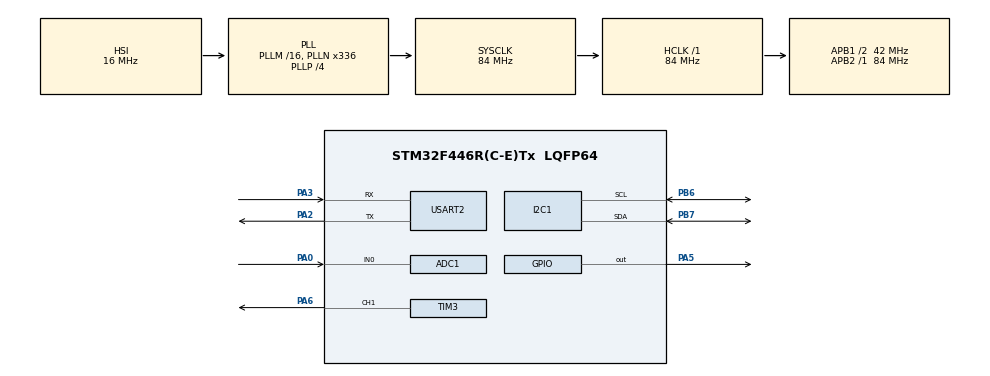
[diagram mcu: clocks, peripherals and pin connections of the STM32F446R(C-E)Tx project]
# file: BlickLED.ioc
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ADC1.Channel-1\#ChannelRegularConversion=ADC_CHANNEL_0
ADC1.NbrOfConversion=1
ADC1.NbrOfConversionFlag=1
ADC1.Rank-1\#ChannelRegularConversion=1
ADC1.SamplingTime-1\#ChannelRegularConversion=ADC_SAMPLETIME_3CYCLES
ADC1.master=1
Mcu.Family=STM32F4
Mcu.Name=STM32F446R(C-E)Tx
Mcu.Package=LQFP64
NVIC.PriorityGroup=NVIC_PRIORITYGROUP_0
PA0-WKUP.Signal=ADCx_IN0
PA2.Mode=Asynchronous
PA2.Signal=USART2_TX
PA3.Mode=Asynchronous
PA3.Signal=USART2_RX
PA5.Signal=GPIO_Output
PA5.TagName=LD1
PA6.Signal=S_TIM3_CH1
PB6.Mode=I2C
PB6.Signal=I2C1_SCL
PB7.Mode=I2C
PB7.Signal=I2C1_SDA
ProjectManager.HeapSize=0x200
ProjectManager.StackSize=0x400
ProjectManager.TargetToolchain=STM32CubeIDE
RCC.AHBFreq_Value=84000000
RCC.APB1CLKDivider=RCC_HCLK_DIV2
RCC.APB1Freq_Value=42000000
RCC.APB1TimFreq_Value=84000000
RCC.APB2Freq_Value=84000000
RCC.APB2TimFreq_Value=84000000
RCC.CortexFreq_Value=84000000
RCC.FLatency-AdvancedSettings=FLASH_LATENCY_2
RCC.HCLKFreq_Value=84000000
RCC.HSE_VALUE=8000000
RCC.HSI_VALUE=16000000
RCC.LSE_VALUE=32768
RCC.PLLN=336
RCC.PLLP=RCC_PLLP_DIV4
RCC.SYSCLKFreq_VALUE=84000000
RCC.SYSCLKSource=RCC_SYSCLKSOURCE_PLLCLK
RCC.USBFreq_Value=168000000
RCC.VCOOutputFreq_Value=336000000
SH.ADCx_IN0.0=ADC1_IN0,IN0
SH.S_TIM3_CH1.0=TIM3_CH1,PWM Generation1 CH1
TIM3.AutoReloadPreload=TIM_AUTORELOAD_PRELOAD_ENABLE
TIM3.Channel-PWM\ Generation1\ CH1=TIM_CHANNEL_1
TIM3.Period=999
TIM3.Prescaler=89
TIM3.Pulse-PWM\ Generation1\ CH1=500
USART2.VirtualMode=VM_ASYNC
VP_TIM3_VS_ClockSourceINT.Mode=Internal
VP_TIM3_VS_ClockSourceITR.Mode=TriggerSource_ITR3
board=NUCLEO-F446RE

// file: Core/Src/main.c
/* USER CODE BEGIN Header */
/**
  ******************************************************************************
  * @file           : main.c
  * @brief          : Main program body
  ******************************************************************************
  * @attention
  *
  * Copyright (c) 2026 STMicroelectronics.
  * All rights reserved.
  *
  * This software is licensed under terms that can be found in the LICENSE file
  * in the root directory of this software component.
  * If no LICENSE file comes with this software, it is provided AS-IS.
  *
  ******************************************************************************
  */
/* USER CODE END Header */
#include "main.h"
#include "ssd1306.h"
#include "ssd1306_fonts.h"

ADC_HandleTypeDef hadc1;

I2C_HandleTypeDef hi2c1;

TIM_HandleTypeDef htim3;

UART_HandleTypeDef huart2;

/* USER CODE BEGIN PV */
volatile uint32_t adc_value = 0;
volatile float voltage = 0.0f;
/* USER CODE END PV */

void SystemClock_Config(void);
static void MX_GPIO_Init(void);
static void MX_ADC1_Init(void);
static void MX_USART2_UART_Init(void);
static void MX_TIM3_Init(void);
static void MX_I2C1_Init(void);

/* USER CODE BEGIN 0 */

extern TIM_HandleTypeDef htim3;

static uint32_t brightness = 0;

/* Increase brightness */
void increase_brightness(void)
{
    if (brightness < 1000U)
        brightness += 10U;

    if (brightness > 1000U)
        brightness = 1000U;

    __HAL_TIM_SET_COMPARE(&htim3, TIM_CHANNEL_1, brightness);
}

/* Decrease brightness */
void decrease_brightness(void)
{
    if (brightness >= 10U)
        brightness -= 10U;
    else
        brightness = 0U;

    __HAL_TIM_SET_COMPARE(&htim3, TIM_CHANNEL_1, brightness);
}

/* USER CODE END 0 */

int	main(void)
{

  /* MCU Configuration--------------------------------------------------------*/

  /* Reset of all peripherals, Initializes the Flash interface and the Systick. */
  HAL_Init();

  /* Configure the system clock */
  SystemClock_Config();

  /* Initialize all configured peripherals */
  MX_GPIO_Init();
  MX_ADC1_Init();
  MX_USART2_UART_Init();
  MX_TIM3_Init();
  MX_I2C1_Init();
  /* USER CODE BEGIN 2 */
  HAL_TIM_PWM_Start(&htim3, TIM_CHANNEL_1);

  /* Enable internal pull-ups on SCL/SDA (PB6/PB7) in case the OLED module has none */
  GPIO_InitTypeDef i2c_gpio = {0};
  i2c_gpio.Pin = GPIO_PIN_6 | GPIO_PIN_7;
  i2c_gpio.Mode = GPIO_MODE_AF_OD;
  i2c_gpio.Pull = GPIO_PULLUP;
  i2c_gpio.Speed = GPIO_SPEED_FREQ_VERY_HIGH;
  i2c_gpio.Alternate = GPIO_AF4_I2C1;
  HAL_GPIO_Init(GPIOB, &i2c_gpio);

  /* OLED modules commonly use either I2C address 0x3C or 0x3D. */
  if (HAL_I2C_IsDeviceReady(&hi2c1, 0x3C << 1, 3, 50) == HAL_OK)
  {
    ssd1306_SetI2CAddress(0x3C);
  }
  else if (HAL_I2C_IsDeviceReady(&hi2c1, 0x3D << 1, 3, 50) == HAL_OK)
  {
    ssd1306_SetI2CAddress(0x3D);
  }
  else
  {
    static const uint8_t oled_error[] = "OLED not found at I2C 0x3C or 0x3D\r\n";
    HAL_UART_Transmit(&huart2, oled_error, sizeof(oled_error) - 1, HAL_MAX_DELAY);
    Error_Handler();
  }
  /* USER CODE END 2 */

  /* Infinite loop */
  /* USER CODE BEGIN WHILE */

      ssd1306_Init();
      ssd1306_Fill(Black);

      ssd1306_SetCursor(0, 0);
      ssd1306_WriteString("STM32 NUCLEO",
                         Font_7x10, White);

      ssd1306_SetCursor(0, 20);
      ssd1306_WriteString("I2C OLED",
                         Font_7x10, White);

      ssd1306_UpdateScreen();

      while (1)
      {
          HAL_Delay(1000);
      }

  /* USER CODE END 3 */
}

void SystemClock_Config(void)
{
  RCC_OscInitTypeDef RCC_OscInitStruct = {0};
  RCC_ClkInitTypeDef RCC_ClkInitStruct = {0};

  /** Configure the main internal regulator output voltage
  */
  __HAL_RCC_PWR_CLK_ENABLE();
  __HAL_PWR_VOLTAGESCALING_CONFIG(PWR_REGULATOR_VOLTAGE_SCALE3);

  /** Initializes the RCC Oscillators according to the specified parameters
  * in the RCC_OscInitTypeDef structure.
  */
  RCC_OscInitStruct.OscillatorType = RCC_OSCILLATORTYPE_HSI;
  RCC_OscInitStruct.HSIState = RCC_HSI_ON;
  RCC_OscInitStruct.HSICalibrationValue = RCC_HSICALIBRATION_DEFAULT;
  RCC_OscInitStruct.PLL.PLLState = RCC_PLL_ON;
  RCC_OscInitStruct.PLL.PLLSource = RCC_PLLSOURCE_HSI;
  RCC_OscInitStruct.PLL.PLLM = 16;
  RCC_OscInitStruct.PLL.PLLN = 336;
  RCC_OscInitStruct.PLL.PLLP = RCC_PLLP_DIV4;
  RCC_OscInitStruct.PLL.PLLQ = 2;
  RCC_OscInitStruct.PLL.PLLR = 2;
  if (HAL_RCC_OscConfig(&RCC_OscInitStruct) != HAL_OK)
  {
    Error_Handler();
  }

  /** Initializes the CPU, AHB and APB buses clocks
  */
  RCC_ClkInitStruct.ClockType = RCC_CLOCKTYPE_HCLK|RCC_CLOCKTYPE_SYSCLK
                              |RCC_CLOCKTYPE_PCLK1|RCC_CLOCKTYPE_PCLK2;
  RCC_ClkInitStruct.SYSCLKSource = RCC_SYSCLKSOURCE_PLLCLK;
  RCC_ClkInitStruct.AHBCLKDivider = RCC_SYSCLK_DIV1;
  RCC_ClkInitStruct.APB1CLKDivider = RCC_HCLK_DIV2;
  RCC_ClkInitStruct.APB2CLKDivider = RCC_HCLK_DIV1;

  if (HAL_RCC_ClockConfig(&RCC_ClkInitStruct, FLASH_LATENCY_2) != HAL_OK)
  {
    Error_Handler();
  }
}

static void MX_ADC1_Init(void)
{

  ADC_ChannelConfTypeDef sConfig = {0};

  /** Configure the global features of the ADC (Clock, Resolution, Data Alignment and number of conversion)
  */
  hadc1.Instance = ADC1;
  hadc1.Init.ClockPrescaler = ADC_CLOCK_SYNC_PCLK_DIV4;
  hadc1.Init.Resolution = ADC_RESOLUTION_12B;
  hadc1.Init.ScanConvMode = DISABLE;
  hadc1.Init.ContinuousConvMode = DISABLE;
  hadc1.Init.DiscontinuousConvMode = DISABLE;
  hadc1.Init.ExternalTrigConvEdge = ADC_EXTERNALTRIGCONVEDGE_NONE;
  hadc1.Init.ExternalTrigConv = ADC_SOFTWARE_START;
  hadc1.Init.DataAlign = ADC_DATAALIGN_RIGHT;
  hadc1.Init.NbrOfConversion = 1;
  hadc1.Init.DMAContinuousRequests = DISABLE;
  hadc1.Init.EOCSelection = ADC_EOC_SINGLE_CONV;
  if (HAL_ADC_Init(&hadc1) != HAL_OK)
  {
    Error_Handler();
  }

  /** Configure for the selected ADC regular channel its corresponding rank in the sequencer and its sample time.
  */
  sConfig.Channel = ADC_CHANNEL_0;
  sConfig.Rank = 1;
  sConfig.SamplingTime = ADC_SAMPLETIME_3CYCLES;
  if (HAL_ADC_ConfigChannel(&hadc1, &sConfig) != HAL_OK)
  {
    Error_Handler();
  }
  /* USER CODE BEGIN ADC1_Init 2 */
  static uint32_t brightness = 0;

  void increase_brightness(void)
  {
      if (brightness < 1000U)
          brightness += 10U;

      if (brightness > 1000U)
          brightness = 1000U;

      __HAL_TIM_SET_COMPARE(&htim3, TIM_CHANNEL_1, brightness);
  }

  void decrease_brightness(void)
  {
      if (brightness >= 10U)
          brightness -= 10U;
      else
          brightness = 0U;

      __HAL_TIM_SET_COMPARE(&htim3, TIM_CHANNEL_1, brightness);
  }
  /* USER CODE END ADC1_Init 2 */

}

static void MX_I2C1_Init(void)
{

  hi2c1.Instance = I2C1;
  hi2c1.Init.ClockSpeed = 100000;
  hi2c1.Init.DutyCycle = I2C_DUTYCYCLE_2;
  hi2c1.Init.OwnAddress1 = 0;
  hi2c1.Init.AddressingMode = I2C_ADDRESSINGMODE_7BIT;
  hi2c1.Init.DualAddressMode = I2C_DUALADDRESS_DISABLE;
  hi2c1.Init.OwnAddress2 = 0;
  hi2c1.Init.GeneralCallMode = I2C_GENERALCALL_DISABLE;
  hi2c1.Init.NoStretchMode = I2C_NOSTRETCH_DISABLE;
  if (HAL_I2C_Init(&hi2c1) != HAL_OK)
  {
    Error_Handler();
  }

}

static void MX_TIM3_Init(void)
{

  TIM_ClockConfigTypeDef sClockSourceConfig = {0};
  TIM_SlaveConfigTypeDef sSlaveConfig = {0};
  TIM_MasterConfigTypeDef sMasterConfig = {0};
  TIM_OC_InitTypeDef sConfigOC = {0};

  htim3.Instance = TIM3;
  htim3.Init.Prescaler = 89;
  htim3.Init.CounterMode = TIM_COUNTERMODE_UP;
  htim3.Init.Period = 999;
  htim3.Init.ClockDivision = TIM_CLOCKDIVISION_DIV1;
  htim3.Init.AutoReloadPreload = TIM_AUTORELOAD_PRELOAD_ENABLE;
  if (HAL_TIM_Base_Init(&htim3) != HAL_OK)
  {
    Error_Handler();
  }
  sClockSourceConfig.ClockSource = TIM_CLOCKSOURCE_INTERNAL;
  if (HAL_TIM_ConfigClockSource(&htim3, &sClockSourceConfig) != HAL_OK)
  {
    Error_Handler();
  }
  if (HAL_TIM_PWM_Init(&htim3) != HAL_OK)
  {
    Error_Handler();
  }
  sSlaveConfig.SlaveMode = TIM_SLAVEMODE_DISABLE;
  sSlaveConfig.InputTrigger = TIM_TS_ITR3;
  if (HAL_TIM_SlaveConfigSynchro(&htim3, &sSlaveConfig) != HAL_OK)
  {
    Error_Handler();
  }
  sMasterConfig.MasterOutputTrigger = TIM_TRGO_RESET;
  sMasterConfig.MasterSlaveMode = TIM_MASTERSLAVEMODE_DISABLE;
  if (HAL_TIMEx_MasterConfigSynchronization(&htim3, &sMasterConfig) != HAL_OK)
  {
    Error_Handler();
  }
  sConfigOC.OCMode = TIM_OCMODE_PWM1;
  sConfigOC.Pulse = 500;
  sConfigOC.OCPolarity = TIM_OCPOLARITY_HIGH;
  sConfigOC.OCFastMode = TIM_OCFAST_DISABLE;
  if (HAL_TIM_PWM_ConfigChannel(&htim3, &sConfigOC, TIM_CHANNEL_1) != HAL_OK)
  {
    Error_Handler();
  }
  HAL_TIM_MspPostInit(&htim3);

}

static void MX_USART2_UART_Init(void)
{

  huart2.Instance = USART2;
  huart2.Init.BaudRate = 115200;
  huart2.Init.WordLength = UART_WORDLENGTH_8B;
  huart2.Init.StopBits = UART_STOPBITS_1;
  huart2.Init.Parity = UART_PARITY_NONE;
  huart2.Init.Mode = UART_MODE_TX_RX;
  huart2.Init.HwFlowCtl = UART_HWCONTROL_NONE;
  huart2.Init.OverSampling = UART_OVERSAMPLING_16;
  if (HAL_UART_Init(&huart2) != HAL_OK)
  {
    Error_Handler();
  }

}

static void MX_GPIO_Init(void)
{
  GPIO_InitTypeDef GPIO_InitStruct = {0};

  /* GPIO Ports Clock Enable */
  __HAL_RCC_GPIOA_CLK_ENABLE();
  __HAL_RCC_GPIOB_CLK_ENABLE();

  /*Configure GPIO pin Output Level */
  HAL_GPIO_WritePin(GPIOA, GPIO_PIN_5, GPIO_PIN_RESET);

  /*Configure GPIO pin : PA5 */
  GPIO_InitStruct.Pin = GPIO_PIN_5;
  GPIO_InitStruct.Mode = GPIO_MODE_OUTPUT_PP;
  GPIO_InitStruct.Pull = GPIO_NOPULL;
  GPIO_InitStruct.Speed = GPIO_SPEED_FREQ_LOW;
  HAL_GPIO_Init(GPIOA, &GPIO_InitStruct);

}

void Error_Handler(void)
{
  __disable_irq();
  while (1)
  {
  }
}
